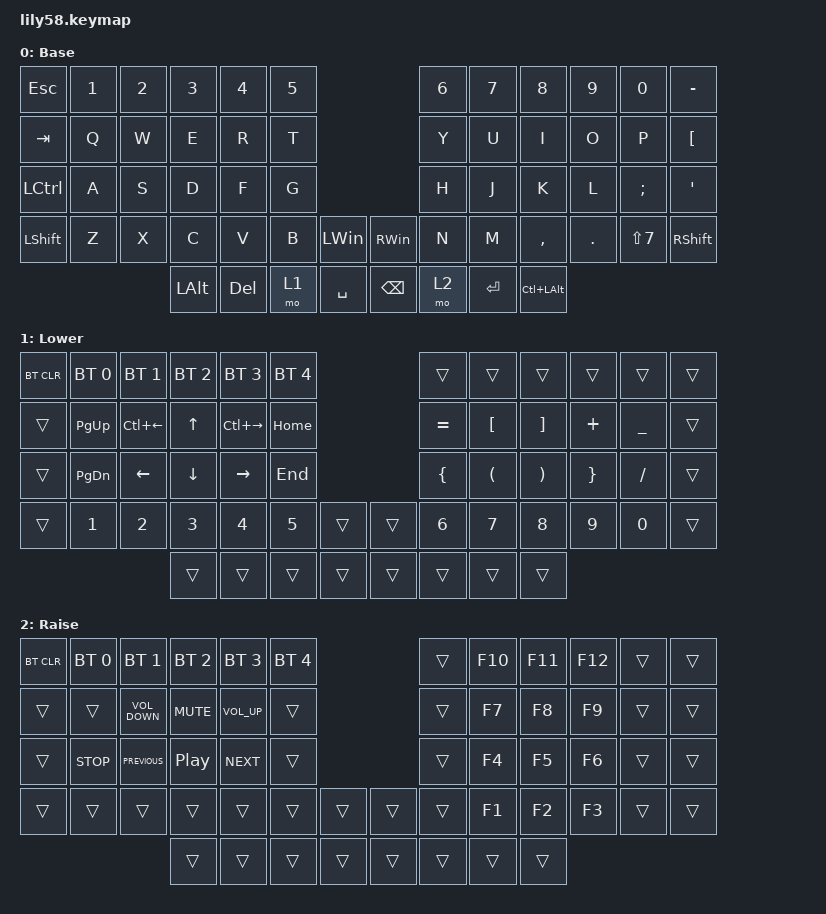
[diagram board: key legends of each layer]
/*
 * Copyright (c) 2020 The ZMK Contributors
 *
 * SPDX-License-Identifier: MIT
 */

#include <behaviors.dtsi>
#include <dt-bindings/zmk/bt.h>
#include <dt-bindings/zmk/keys.h>

/ {
    keymap {
        compatible = "zmk,keymap";

        default_layer {
            // ------------------------------------------------------------------------------------------------------------
            // |  ESC  |  1  |  2  |  3   |  4   |  5   |                   |  6   |  7    |  8    |  9   |   0   |   `   |
            // |  TAB  |  Q  |  W  |  E   |  R   |  T   |                   |  Y   |  U    |  I    |  O   |   P   |   -   |
            // |  CTRL |  A  |  S  |  D   |  F   |  G   |                   |  H   |  J    |  K    |  L   |   ;   |   '   |
            // | SHIFT |  Z  |  X  |  C   |  V   |  B   |   "["  |  |  "]"  |  N   |  M    |  ,    |  .   |   /   | SHIFT |
            //                     | ALT  | GUI  | LOWER|  SPACE |  | ENTER | RAISE| BSPC  | GUI   |

            display-name = "Base";
            bindings = <
&kp ESCAPE  &kp N1  &kp N2  &kp N3    &kp N4      &kp N5                                 &kp N6  &kp N7   &kp N8            &kp N9   &kp N0      &kp MINUS
&kp TAB     &kp Q   &kp W   &kp E     &kp R       &kp T                                  &kp Y   &kp U    &kp I             &kp O    &kp P       &kp LBKT
&kp LCTRL   &kp A   &kp S   &kp D     &kp F       &kp G                                  &kp H   &kp J    &kp K             &kp L    &kp SEMI    &kp SQT
&kp LSHFT   &kp Z   &kp X   &kp C     &kp V       &kp B   &kp LEFT_WIN    &kp RIGHT_WIN  &kp N   &kp M    &kp COMMA         &kp DOT  &kp LS(N7)  &kp RSHFT
                            &kp LALT  &kp DELETE  &mo 1   &kp SPACE       &kp BSPC       &mo 2   &kp RET  &kp LC(LEFT_ALT)
            >;
        };

        lower_layer {
            // ------------------------------------------------------------------------------------------------------------
            // | BTCLR | BT1 | BT2 |  BT3 |  BT4 |  BT5 |                   |      |       |       |      |       |       |
            // |  F1   |  F2 |  F3 |  F4  |  F5  |  F6  |                   |  F7  |  F8   |  F9   |  F10 |  F11  |  F12  |
            // |   `   |  !  |  @  |  #   |  $   |  %   |                   |  ^   |  &    |  *    |  (   |   )   |   ~   |
            // |       |     |     |      |      |      |        |  |       |      |  _    |  +    |  {   |   }   |  "|"  |
            //                     |      |      |      |        |  |       |      |       |       |

            display-name = "Lower";
            bindings = <
&bt BT_CLR  &bt BT_SEL 0   &bt BT_SEL 1        &bt BT_SEL 2    &bt BT_SEL 3         &bt BT_SEL 4                    &trans          &trans                &trans                 &trans           &trans          &trans
&trans      &kp PAGE_UP    &kp LC(LEFT_ARROW)  &kp UP_ARROW    &kp LC(RIGHT_ARROW)  &kp HOME                        &kp EQUAL       &kp LEFT_BRACKET      &kp RIGHT_BRACKET      &kp PLUS         &kp UNDERSCORE  &trans
&trans      &kp PAGE_DOWN  &kp LEFT_ARROW      &kp DOWN_ARROW  &kp RIGHT_ARROW      &kp END                         &kp LEFT_BRACE  &kp LEFT_PARENTHESIS  &kp RIGHT_PARENTHESIS  &kp RIGHT_BRACE  &kp FSLH        &trans
&trans      &kp NUMBER_1   &kp NUMBER_2        &kp NUMBER_3    &kp NUMBER_4         &kp NUMBER_5  &trans    &trans  &kp NUMBER_6    &kp NUMBER_7          &kp NUMBER_8           &kp NUMBER_9     &kp NUMBER_0    &trans
                                               &trans          &trans               &trans        &trans    &trans  &trans          &trans                &trans
            >;
        };

        upper_layer {
            // ------------------------------------------------------------------------------------------------------------
            // |       |     |     |      |      |      |                   |      |       |       |      |       |       |
            // |   `   |  1  |  2  |  3   |  4   |  5   |                   |  6   |   7   |   8   |  9   |   0   |       |
            // |   F1  |  F2 |  F3 |  F4  |  F5  |  F6  |                   |      |   <-  |   v   |  ^   |  ->   |       |
            // |   F7  |  F8 |  F9 |  F10 |  F11 |  F12 |        |  |       |  +   |   -   |   =   |  [   |   ]   |   \   |
            //                     |      |      |      |        |  |       |      |       |       |

            display-name = "Raise";
            bindings = <
&bt BT_CLR  &bt BT_SEL 0  &bt BT_SEL 1       &bt BT_SEL 2      &bt BT_SEL 3     &bt BT_SEL 4                    &trans  &kp F10  &kp F11  &kp F12  &trans  &trans
&trans      &trans        &kp C_VOLUME_DOWN  &kp C_MUTE        &kp C_VOLUME_UP  &trans                          &trans  &kp F7   &kp F8   &kp F9   &trans  &trans
&trans      &kp C_STOP    &kp C_PREVIOUS     &kp C_PLAY_PAUSE  &kp C_NEXT       &trans                          &trans  &kp F4   &kp F5   &kp F6   &trans  &trans
&trans      &trans        &trans             &trans            &trans           &trans        &trans    &trans  &trans  &kp F1   &kp F2   &kp F3   &trans  &trans
                                             &trans            &trans           &trans        &trans    &trans  &trans  &trans   &trans
            >;
        };
    };

    conditional_layers { compatible = "zmk,conditional-layers"; };
};
